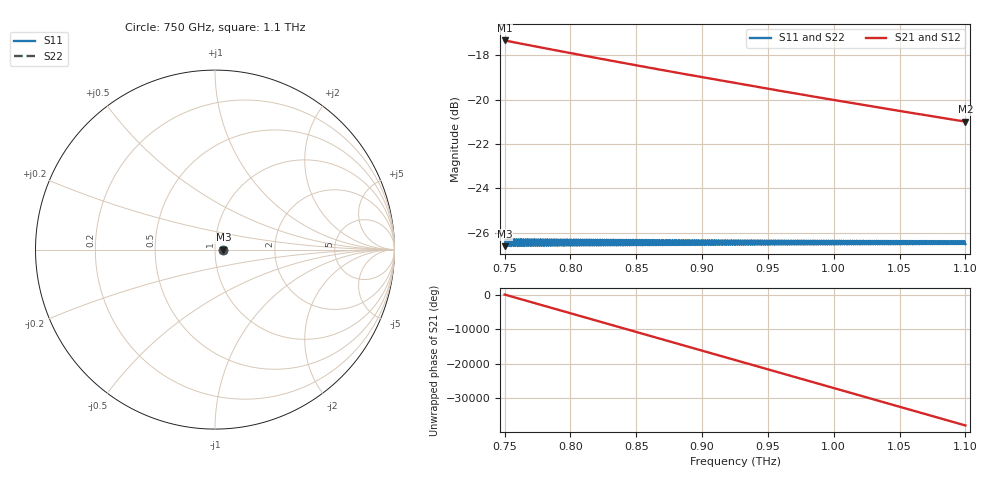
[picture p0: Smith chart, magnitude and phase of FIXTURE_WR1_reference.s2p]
! Reference exacte (sans bruit) : ligne Zc=55 ohm, delai=300 ps, pertes 2.0 dB @10 GHz (~sqrt(f)), eps_r_eff=3.0 -> 51.93 mm, Z0=50 ohm ; 750.000 - 1100 GHz, pas 250 MHz, 1401 points, bruit -40 dB
! Frequency(Hz) S11 S21 S12 S22 (Re Im)
# Hz S RI R 50
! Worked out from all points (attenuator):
!   1401 points, 750 GHz to 1.1 THz, reference 50 ohm
!   highest |S21| = -17.34 dB at 750 GHz (marker M1); lowest = -21.0 dB at 1.1 THz (marker M2)
!   lowest |S11| = -26.6 dB at 750 GHz (marker M3), VSWR 1.10, Z = 54.9 - j1.48e-14 ohm
!   |S11| at or under -10 dB: start of sweep to end of sweep
!   |S22| runs from -26.6 to -26.3 dB; largest |S21 - S12| = 0
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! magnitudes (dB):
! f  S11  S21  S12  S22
! 750 GHz  -26.6  -17.3  -17.3  -26.6
! 752.5 GHz  -26.3  -17.4  -17.4  -26.3
! 753.2 GHz  -26.6  -17.4  -17.4  -26.6
! 757.5 GHz  -26.3  -17.4  -17.4  -26.3
! 758.2 GHz  -26.6  -17.4  -17.4  -26.6
! 762.5 GHz  -26.3  -17.5  -17.5  -26.3
! 763.2 GHz  -26.6  -17.5  -17.5  -26.6
! 767.5 GHz  -26.3  -17.5  -17.5  -26.3
! 768.2 GHz  -26.6  -17.5  -17.5  -26.6
! 772.5 GHz  -26.3  -17.6  -17.6  -26.3
! 773.2 GHz  -26.6  -17.6  -17.6  -26.6
! 777.5 GHz  -26.3  -17.7  -17.7  -26.3
! 778.2 GHz  -26.6  -17.7  -17.7  -26.6
! 782.5 GHz  -26.3  -17.7  -17.7  -26.3
! 783.2 GHz  -26.6  -17.7  -17.7  -26.6
! 808.5 GHz  -26.6  -18.0  -18.0  -26.6
! 866.8 GHz  -26.6  -18.6  -18.6  -26.6
! 925 GHz  -26.5  -19.3  -19.3  -26.5
! 983.5 GHz  -26.5  -19.9  -19.9  -26.5
! 1.042 THz  -26.5  -20.4  -20.4  -26.5
! 1.097 THz  -26.4  -21.0  -21.0  -26.4
! 1.1 THz  -26.5  -21.0  -21.0  -26.5
